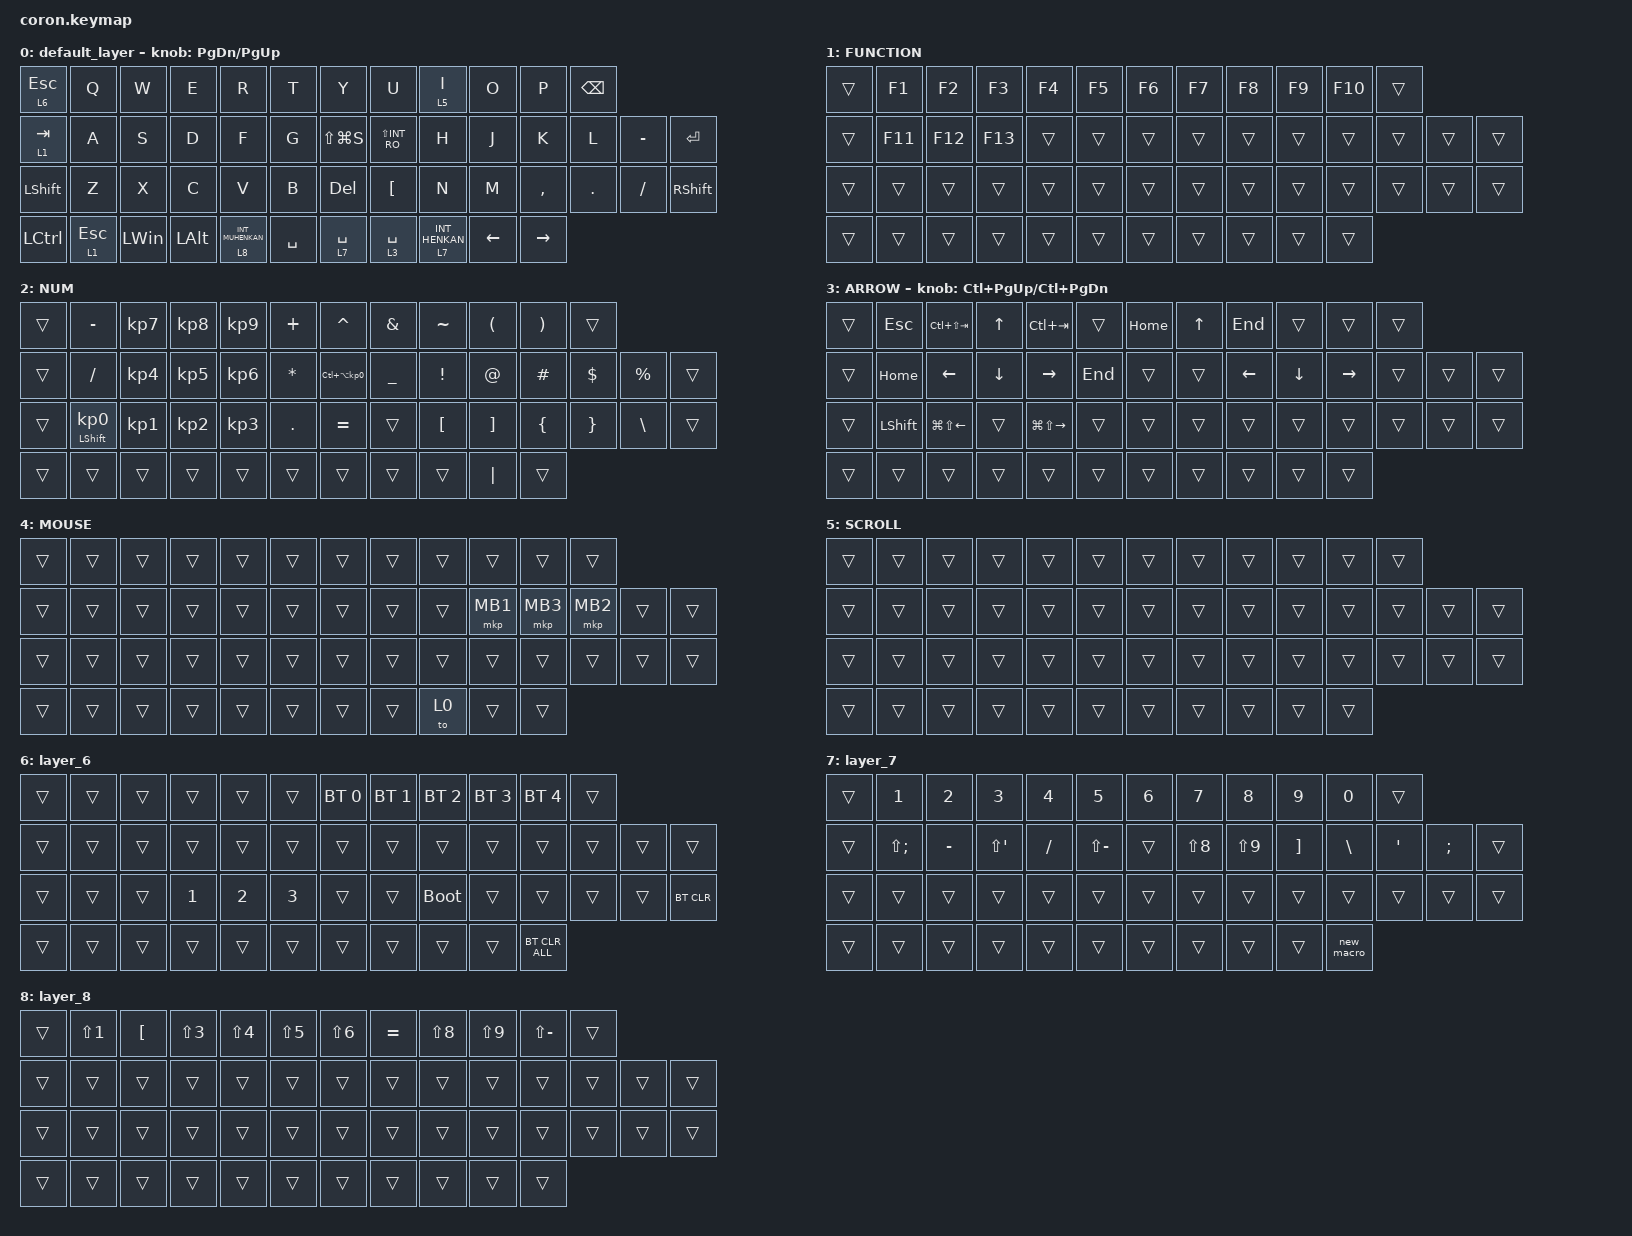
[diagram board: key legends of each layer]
/* coron.keymap */

#include <behaviors.dtsi>
#include <dt-bindings/zmk/bt.h>
#include <dt-bindings/zmk/keys.h>
#include <dt-bindings/zmk/pointing.h>

&mt {
    flavor = "balanced";
    quick-tap-ms = <0>;
};

&trackball {
    automouse-layer = <4>;
    scroll-layers = <5>;
};

/ {
    combos {
        compatible = "zmk,combos";

        /* Note: Key positions have shifted due to added columns. 
           You will need to recalculate these indices later. */

        tab {
            bindings = <&kp TAB>;
            key-positions = <11 12>;
        };

        shift_tab {
            bindings = <&kp LS(TAB)>;
            key-positions = <12 13>;
        };

        muhennkann {
            bindings = <&to_layer_0 INT_MUHENKAN>;
            key-positions = <11 10>;
        };

        double_quotation {
            bindings = <&kp DOUBLE_QUOTES>;
            key-positions = <20 21>;
        };

        eq {
            bindings = <&kp EQUAL>;
            key-positions = <24 25>;
        };
    };

    macros {
        to_layer_0: to_layer_0 {
            compatible = "zmk,behavior-macro-one-param";
            #binding-cells = <1>;
            bindings = <&to 0 &macro_param_1to1 &kp MACRO_PLACEHOLDER>;
            label = "TO_LAYER_0";
        };

        new_macro: new_macro {
            compatible = "zmk,behavior-macro";
            #binding-cells = <0>;
            bindings = <&kp N6 &kp LS(T) &kp E &kp LS(M) &kp L &kp N8 &kp LS(P) &kp C &kp LBKT &kp LBKT>;
            label = "NEW_MACRO";
        };
    };

    behaviors {
        lt_to_layer_0: lt_to_layer_0 {
            compatible = "zmk,behavior-hold-tap";
            label = "LAYER_TAP_TO_0";
            bindings = <&mo>, <&to_layer_0>;

            #binding-cells = <2>;
            tapping-term-ms = <200>;
        };
    };

    keymap {
        compatible = "zmk,keymap";

        default_layer {
            bindings = <
&lt_to_layer_0 6 ESCAPE  &kp Q                    &kp W         &kp E         &kp R                          &kp T      &kp Y                   &kp U                   &lt 5 I           &kp O           &kp P            &kp BACKSPACE
&lt_to_layer_0 1 TAB     &kp A                    &kp S         &kp D         &kp F                          &kp G      &kp LS(LG(S))           &kp LS(INT_RO)          &kp H             &kp J           &kp K            &kp L          &kp MINUS  &kp ENTER
&kp LEFT_SHIFT           &kp Z                    &kp X         &kp C         &kp V                          &kp B      &kp DEL                 &kp LBKT                &kp N             &kp M           &kp COMMA        &kp DOT        &kp SLASH  &kp RIGHT_SHIFT
&kp LEFT_CONTROL         &lt_to_layer_0 1 ESCAPE  &kp LEFT_WIN  &kp LEFT_ALT  &lt_to_layer_0 8 INT_MUHENKAN  &kp SPACE  &lt_to_layer_0 7 SPACE  &lt_to_layer_0 3 SPACE  &lt 7 INT_HENKAN  &kp LEFT_ARROW  &kp RIGHT_ARROW
            >;

            sensor-bindings = <&inc_dec_kp PAGE_DOWN PG_UP>;
        };

        FUNCTION {
            bindings = <
&trans  &kp F1   &kp F2   &kp F3   &kp F4  &kp F5  &kp F6  &kp F7  &kp F8  &kp F9  &kp F10  &trans
&trans  &kp F11  &kp F12  &kp F13  &trans  &trans  &trans  &trans  &trans  &trans  &trans   &trans  &trans  &trans
&trans  &trans   &trans   &trans   &trans  &trans  &trans  &trans  &trans  &trans  &trans   &trans  &trans  &trans
&trans  &trans   &trans   &trans   &trans  &trans  &trans  &trans  &trans  &trans  &trans
            >;
        };

        NUM {
            bindings = <
&trans  &kp MINUS                   &kp KP_NUMBER_7  &kp KP_NUMBER_8  &kp KP_NUMBER_9  &kp PLUS      &kp CARET                &kp AMPERSAND   &kp TILDE         &kp LEFT_PARENTHESIS  &kp RIGHT_PARENTHESIS  &trans
&trans  &kp SLASH                   &kp KP_NUMBER_4  &kp KP_NUMBER_5  &kp KP_NUMBER_6  &kp ASTERISK  &kp LC(LA(KP_NUMBER_0))  &kp UNDERSCORE  &kp EXCLAMATION   &kp AT_SIGN           &kp HASH               &kp DOLLAR       &kp PERCENT    &trans
&trans  &mt LEFT_SHIFT KP_NUMBER_0  &kp KP_NUMBER_1  &kp KP_NUMBER_2  &kp KP_NUMBER_3  &kp PERIOD    &kp EQUAL                &trans          &kp LEFT_BRACKET  &kp RIGHT_BRACKET     &kp LEFT_BRACE         &kp RIGHT_BRACE  &kp BACKSLASH  &trans
&trans  &trans                      &trans           &trans           &trans           &trans        &trans                   &trans          &trans            &kp PIPE              &trans
            >;
        };

        ARROW {
            bindings = <
&trans  &kp ESCAPE      &kp LC(LS(TAB))         &kp UP_ARROW    &kp LC(TAB)              &trans   &kp HOME  &kp UP_ARROW  &kp END         &trans          &trans           &trans
&trans  &kp HOME        &kp LEFT_ARROW          &kp DOWN_ARROW  &kp RIGHT_ARROW          &kp END  &trans    &trans        &kp LEFT_ARROW  &kp DOWN_ARROW  &kp RIGHT_ARROW  &trans  &trans  &trans
&trans  &kp LEFT_SHIFT  &kp LG(LS(LEFT_ARROW))  &trans          &kp LG(LS(RIGHT_ARROW))  &trans   &trans    &trans        &trans          &trans          &trans           &trans  &trans  &trans
&trans  &trans          &trans                  &trans          &trans                   &trans   &trans    &trans        &trans          &trans          &trans
            >;

            sensor-bindings = <&inc_dec_kp LC(PAGE_UP) LC(PAGE_DOWN)>;
        };

        MOUSE {
            bindings = <
&trans  &trans  &trans  &trans  &trans  &trans  &trans  &trans  &trans  &trans    &trans    &trans
&trans  &trans  &trans  &trans  &trans  &trans  &trans  &trans  &trans  &mkp MB1  &mkp MB3  &mkp MB2  &trans  &trans
&trans  &trans  &trans  &trans  &trans  &trans  &trans  &trans  &trans  &trans    &trans    &trans    &trans  &trans
&trans  &trans  &trans  &trans  &trans  &trans  &trans  &trans  &to 0   &trans    &trans
            >;
        };

        SCROLL {
            bindings = <
&trans  &trans  &trans  &trans  &trans  &trans  &trans  &trans  &trans  &trans  &trans  &trans
&trans  &trans  &trans  &trans  &trans  &trans  &trans  &trans  &trans  &trans  &trans  &trans  &trans  &trans
&trans  &trans  &trans  &trans  &trans  &trans  &trans  &trans  &trans  &trans  &trans  &trans  &trans  &trans
&trans  &trans  &trans  &trans  &trans  &trans  &trans  &trans  &trans  &trans  &trans
            >;
        };

        layer_6 {
            bindings = <
&trans  &trans  &trans  &trans        &trans        &trans        &bt BT_SEL 0  &bt BT_SEL 1  &bt BT_SEL 2  &bt BT_SEL 3  &bt BT_SEL 4    &trans
&trans  &trans  &trans  &trans        &trans        &trans        &trans        &trans        &trans        &trans        &trans          &trans  &trans  &trans
&trans  &trans  &trans  &kp NUMBER_1  &kp NUMBER_2  &kp NUMBER_3  &trans        &trans        &bootloader   &trans        &trans          &trans  &trans  &bt BT_CLR
&trans  &trans  &trans  &trans        &trans        &trans        &trans        &trans        &trans        &trans        &bt BT_CLR_ALL
            >;
        };

        layer_7 {
            bindings = <
&trans  &kp N1        &kp N2     &kp N3                &kp N4     &kp N5         &kp N6  &kp N7      &kp N8      &kp N9             &kp N0         &trans
&trans  &kp LS(SEMI)  &kp MINUS  &kp LS(SINGLE_QUOTE)  &kp SLASH  &kp LS(MINUS)  &trans  &kp LS(N8)  &kp LS(N9)  &kp RIGHT_BRACKET  &kp BACKSLASH  &kp SINGLE_QUOTE  &kp SEMI  &trans
&trans  &trans        &trans     &trans                &trans     &trans         &trans  &trans      &trans      &trans             &trans         &trans            &trans    &trans
&trans  &trans        &trans     &trans                &trans     &trans         &trans  &trans      &trans      &trans             &new_macro
            >;
        };

        layer_8 {
            bindings = <
&trans  &kp LS(N1)  &kp LEFT_BRACKET  &kp LS(N3)  &kp LS(N4)  &kp LS(N5)  &kp LS(N6)  &kp EQUAL  &kp LS(N8)  &kp LS(N9)  &kp LS(MINUS)  &trans
&trans  &trans      &trans            &trans      &trans      &trans      &trans      &trans     &trans      &trans      &trans         &trans  &trans  &trans
&trans  &trans      &trans            &trans      &trans      &trans      &trans      &trans     &trans      &trans      &trans         &trans  &trans  &trans
&trans  &trans      &trans            &trans      &trans      &trans      &trans      &trans     &trans      &trans      &trans
            >;
        };
    };
};
